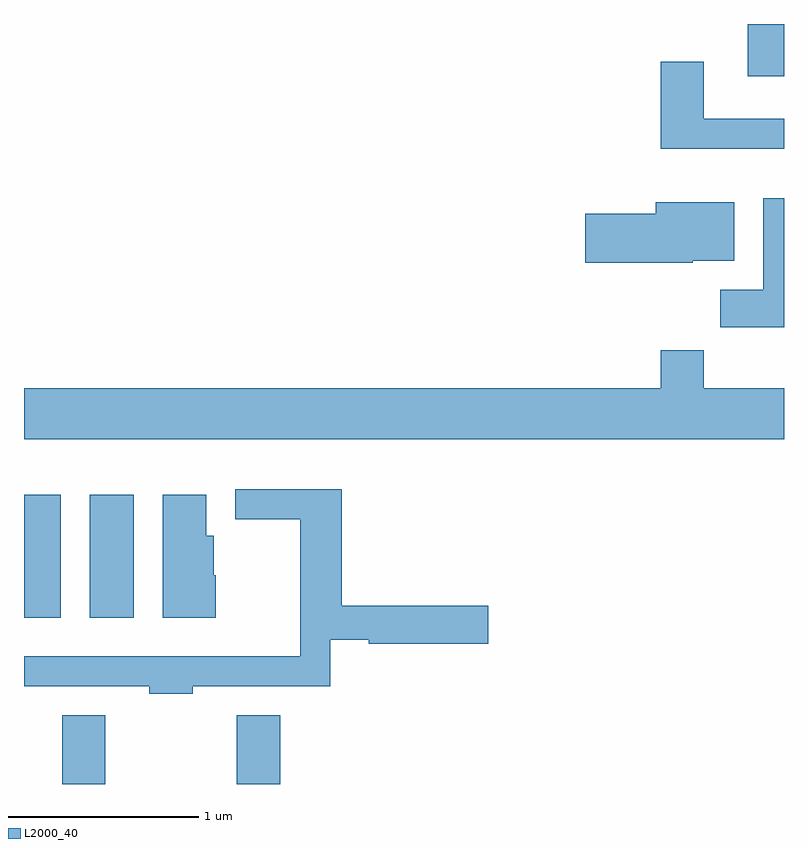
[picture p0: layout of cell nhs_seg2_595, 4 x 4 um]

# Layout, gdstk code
import gdstk
lib = gdstk.Library(unit=1e-6, precision=1e-09)
def R(c, l, rs):  # rectangles x0, y0, x1, y1
    for r in rs: c.add(gdstk.rectangle(r[:2], r[2:], *l))
def P(c, l, *ps):  # polygons
    for p in ps: c.add(gdstk.Polygon(p, *l))
L2000_40 = (2000, 40)

nhs_seg2_595 = lib.new_cell('nhs_seg2_595')
R(nhs_seg2_595, L2000_40, [(201.811,1079.802,202.039,1080.164), (202.731,1079.802,202.959,1080.164), (201.611,1080.676,201.804,1081.324), (201.956,1080.676,202.189,1081.324), (205.421,1083.526,205.611,1083.802)])
P(nhs_seg2_595, L2000_40, [(205.611,1083.304),(205.189,1083.304),(205.189,1083.604),(204.961,1083.604),(204.961,1083.146),(205.611,1083.146)],
  [(205.611,1082.884),(205.501,1082.884),(205.501,1082.404),(205.276,1082.404),(205.276,1082.206),(205.611,1082.206)],
  [(205.13,1082.556),(205.349,1082.556),(205.349,1082.864),(204.936,1082.864),(204.936,1082.804),(204.566,1082.804),(204.566,1082.546),(205.13,1082.546)],
  [(205.611,1081.884),(205.189,1081.884),(205.189,1082.084),(204.961,1082.084),(204.961,1081.884),(201.611,1081.884),(201.611,1081.616),(205.611,1081.616)],
  [(202.499,1080.316),(203.224,1080.316),(203.224,1080.561),(203.426,1080.561),(203.426,1080.541),(204.054,1080.541),(204.054,1080.739),(203.284,1080.739),(203.284,1081.354),(202.723,1081.354),(202.723,1081.196),(203.066,1081.196),(203.066,1080.474),(201.611,1080.474),(201.611,1080.316),(202.271,1080.316),(202.271,1080.276),(202.499,1080.276)],
  [(202.619,1080.9),(202.609,1080.9),(202.609,1081.109),(202.569,1081.109),(202.569,1081.324),(202.341,1081.324),(202.341,1080.676),(202.619,1080.676)])

lib.write_gds('nhs_seg2_595.gds')
